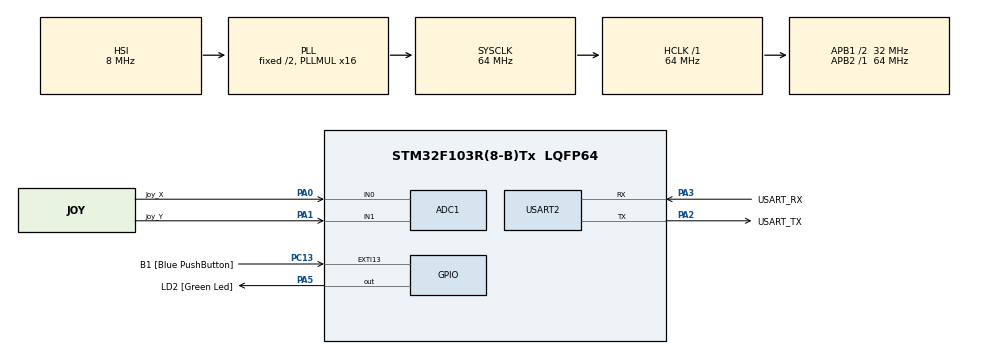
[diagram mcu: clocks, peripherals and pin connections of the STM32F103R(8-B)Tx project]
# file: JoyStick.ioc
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ADC1.Channel-2\#ChannelRegularConversion=ADC_CHANNEL_0
ADC1.Channel-3\#ChannelRegularConversion=ADC_CHANNEL_1
ADC1.ContinuousConvMode=ENABLE
ADC1.NbrOfConversion=2
ADC1.NbrOfConversionFlag=1
ADC1.Rank-2\#ChannelRegularConversion=1
ADC1.Rank-3\#ChannelRegularConversion=2
ADC1.SamplingTime-2\#ChannelRegularConversion=ADC_SAMPLETIME_239CYCLES_5
ADC1.SamplingTime-3\#ChannelRegularConversion=ADC_SAMPLETIME_239CYCLES_5
ADC1.master=1
Dma.ADC1.0.Direction=DMA_PERIPH_TO_MEMORY
Dma.ADC1.0.Instance=DMA1_Channel1
Dma.ADC1.0.MemDataAlignment=DMA_MDATAALIGN_HALFWORD
Dma.ADC1.0.MemInc=DMA_MINC_ENABLE
Dma.ADC1.0.Mode=DMA_CIRCULAR
Dma.ADC1.0.PeriphDataAlignment=DMA_PDATAALIGN_HALFWORD
Dma.ADC1.0.PeriphInc=DMA_PINC_DISABLE
Dma.ADC1.0.Priority=DMA_PRIORITY_MEDIUM
Dma.Request0=ADC1
Mcu.Family=STM32F1
Mcu.Name=STM32F103R(8-B)Tx
Mcu.Package=LQFP64
NVIC.DMA1_Channel1_IRQn=true\:0\:0\:false\:false\:true\:false\:true\:true
NVIC.EXTI15_10_IRQn=true\:0\:0\:false\:false\:true\:true\:true\:true
NVIC.PriorityGroup=NVIC_PRIORITYGROUP_4
NVIC.TIM2_IRQn=true\:0\:0\:false\:false\:true\:true\:true\:true
PA0-WKUP.GPIO_Label=Joy_X
PA0-WKUP.Signal=ADCx_IN0
PA1.GPIO_Label=Joy_Y
PA1.Signal=ADCx_IN1
PA13.GPIO_Label=TMS
PA13.Mode=Serial_Wire
PA13.Signal=SYS_JTMS-SWDIO
PA14.GPIO_Label=TCK
PA14.Mode=Serial_Wire
PA14.Signal=SYS_JTCK-SWCLK
PA2.GPIO_Label=USART_TX
PA2.GPIO_Mode=GPIO_MODE_AF_PP
PA2.GPIO_PuPd=GPIO_NOPULL
PA2.GPIO_Speed=GPIO_SPEED_FREQ_LOW
PA2.Mode=Asynchronous
PA2.Signal=USART2_TX
PA3.GPIO_Label=USART_RX
PA3.GPIO_Mode=GPIO_MODE_AF_PP
PA3.GPIO_PuPd=GPIO_NOPULL
PA3.GPIO_Speed=GPIO_SPEED_FREQ_LOW
PA3.Mode=Asynchronous
PA3.Signal=USART2_RX
PA5.GPIO_Label=LD2 [Green Led]
PA5.GPIO_ModeDefaultOutputPP=GPIO_MODE_OUTPUT_PP
PA5.GPIO_PuPd=GPIO_NOPULL
PA5.GPIO_Speed=GPIO_SPEED_FREQ_LOW
PA5.Signal=GPIO_Output
PB3.GPIO_Label=SWO
PB3.Signal=SYS_JTDO-TRACESWO
PC13-TAMPER-RTC.GPIO_Label=B1 [Blue PushButton]
PC13-TAMPER-RTC.GPIO_PuPd=GPIO_NOPULL
PC13-TAMPER-RTC.Signal=GPXTI13
PC14-OSC32_IN.Signal=RCC_OSC32_IN
PC15-OSC32_OUT.Signal=RCC_OSC32_OUT
PD0-OSC_IN.Signal=RCC_OSC_IN
PD1-OSC_OUT.Signal=RCC_OSC_OUT
ProjectManager.HeapSize=0x200
ProjectManager.StackSize=0x400
ProjectManager.TargetToolchain=STM32CubeIDE
RCC.ADCPresc=RCC_ADCPCLK2_DIV6
RCC.AHBFreq_Value=64000000
RCC.APB1CLKDivider=RCC_HCLK_DIV2
RCC.APB1Freq_Value=32000000
RCC.APB1TimFreq_Value=64000000
RCC.APB2Freq_Value=64000000
RCC.APB2TimFreq_Value=64000000
RCC.HCLKFreq_Value=64000000
RCC.PLLMUL=RCC_PLL_MUL16
RCC.RTCClockSelection=RCC_RTCCLKSOURCE_LSE
RCC.SYSCLKFreq_VALUE=64000000
RCC.SYSCLKSource=RCC_SYSCLKSOURCE_PLLCLK
RCC.USBFreq_Value=64000000
SH.ADCx_IN0.0=ADC1_IN0,IN0
SH.ADCx_IN1.0=ADC2_IN1
SH.ADCx_IN1.1=ADC1_IN1,IN1
TIM2.Period=499
TIM2.Prescaler=6399
USART2.VirtualMode=VM_ASYNC
VP_TIM2_VS_ClockSourceINT.Mode=Internal
board=NUCLEO-F103RB

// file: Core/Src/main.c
/* USER CODE BEGIN Header */
/**
  ******************************************************************************
  * @file           : main.c
  * @brief          : Main program body
  ******************************************************************************
  * @attention
  *
  * Copyright (c) 2025 STMicroelectronics.
  * All rights reserved.
  *
  * This software is licensed under terms that can be found in the LICENSE file
  * in the root directory of this software component.
  * If no LICENSE file comes with this software, it is provided AS-IS.
  *
  ******************************************************************************
  */
/* USER CODE END Header */
#include "main.h"

/* USER CODE BEGIN Includes */
#include <stdio.h>
#include <string.h>
/* USER CODE END Includes */

/* USER CODE BEGIN PD */
#define ADC_BUFFER_SIZE 2
#define FILTER_SIZE 8        // 이동평균 필터 크기
#define ADC_MAX_VALUE 4095   // 12bit ADC 최대값
/* USER CODE END PD */

ADC_HandleTypeDef hadc1;
DMA_HandleTypeDef hdma_adc1;

TIM_HandleTypeDef htim2;

UART_HandleTypeDef huart2;

/* USER CODE BEGIN PV */
uint16_t adc_buffer[ADC_BUFFER_SIZE];  // DMA 버퍼
uint16_t joystick_x_raw = 0;           // 조이스틱 X축 원시값
uint16_t joystick_y_raw = 0;           // 조이스틱 Y축 원시값

// 이동평균 필터를 위한 배열
uint32_t x_filter_buffer[FILTER_SIZE] = {0};
uint32_t y_filter_buffer[FILTER_SIZE] = {0};
uint8_t filter_index = 0;

// 필터링된 값
uint16_t joystick_x_filtered = 0;
uint16_t joystick_y_filtered = 0;

// 백분율로 변환된 값 (-100 ~ +100)
int16_t joystick_x_percent = 0;
int16_t joystick_y_percent = 0;

char uart_buffer[100];  // 필요시 사용할 버퍼 (현재는 printf 사용)
/* USER CODE END PV */

void SystemClock_Config(void);
static void MX_GPIO_Init(void);
static void MX_DMA_Init(void);
static void MX_USART2_UART_Init(void);
static void MX_ADC1_Init(void);
static void MX_TIM2_Init(void);
/* USER CODE BEGIN PFP */
void process_joystick_data(void);
uint16_t apply_moving_average_filter(uint16_t new_value, uint32_t *filter_buffer);
int16_t convert_to_percentage(uint16_t adc_value);
/* USER CODE END PFP */

/* USER CODE BEGIN 0 */
#ifdef __GNUC__
/* With GCC, small printf (option LD Linker->Libraries->Small printf
   set to 'Yes') calls __io_putchar() */
#define PUTCHAR_PROTOTYPE int __io_putchar(int ch)
#else
#define PUTCHAR_PROTOTYPE int fputc(int ch, FILE *f)
#endif /* __GNUC__ */

/**
  * @brief  Retargets the C library printf function to the USART.
  * @param  None
  * @retval None
  */
PUTCHAR_PROTOTYPE
{
  /* Place your implementation of fputc here */
  /* e.g. write a character to the USART1 and Loop until the end of transmission */
  if (ch == '\n')
    HAL_UART_Transmit (&huart2, (uint8_t*) "\r", 1, 0xFFFF);
  HAL_UART_Transmit (&huart2, (uint8_t*) &ch, 1, 0xFFFF);

  return ch;
}

/**
  * @brief  이동평균 필터 적용
  * @param  new_value: 새로운 ADC 값
  * @param  filter_buffer: 필터 버퍼 포인터
  * @retval 필터링된 값
  */
uint16_t apply_moving_average_filter(uint16_t new_value, uint32_t *filter_buffer)
{
    static uint8_t x_init = 0, y_init = 0;
    uint32_t sum = 0;

    // 필터 버퍼 구분 (X축 또는 Y축)
    if (filter_buffer == x_filter_buffer) {
        if (!x_init) {
            // 초기화: 모든 버퍼를 첫 번째 값으로 채움
            for (int i = 0; i < FILTER_SIZE; i++) {
                filter_buffer[i] = new_value;
            }
            x_init = 1;
            return new_value;
        }
    } else {
        if (!y_init) {
            // 초기화: 모든 버퍼를 첫 번째 값으로 채움
            for (int i = 0; i < FILTER_SIZE; i++) {
                filter_buffer[i] = new_value;
            }
            y_init = 1;
            return new_value;
        }
    }

    // 새로운 값을 버퍼에 추가
    filter_buffer[filter_index] = new_value;

    // 평균 계산
    for (int i = 0; i < FILTER_SIZE; i++) {
        sum += filter_buffer[i];
    }

    return (uint16_t)(sum / FILTER_SIZE);
}

/**
  * @brief  ADC 값을 백분율로 변환 (-100 ~ +100)
  * @param  adc_value: ADC 값 (0 ~ 4095)
  * @retval 백분율 값
  */
int16_t convert_to_percentage(uint16_t adc_value)
{
    // ADC 중앙값을 기준으로 -100 ~ +100으로 변환
    int16_t centered_value = (int16_t)adc_value - (ADC_MAX_VALUE / 2);
    int16_t percentage = (centered_value * 100) / (ADC_MAX_VALUE / 2);

    // 범위 제한
    if (percentage > 100) percentage = 100;
    if (percentage < -100) percentage = -100;

    return percentage;
}

/**
  * @brief  조이스틱 데이터 처리
  * @param  None
  * @retval None
  */
void process_joystick_data(void)
{
    // 원시 ADC 값 읽기
    joystick_x_raw = adc_buffer[0];  // ADC Channel 0 (PA0)
    joystick_y_raw = adc_buffer[1];  // ADC Channel 1 (PA1)

    // 이동평균 필터 적용
    joystick_x_filtered = apply_moving_average_filter(joystick_x_raw, x_filter_buffer);
    joystick_y_filtered = apply_moving_average_filter(joystick_y_raw, y_filter_buffer);

    // 필터 인덱스 업데이트 (두 축 공통 사용)
    filter_index = (filter_index + 1) % FILTER_SIZE;

    // 백분율로 변환
    joystick_x_percent = convert_to_percentage(joystick_x_filtered);
    joystick_y_percent = convert_to_percentage(joystick_y_filtered);
}

/**
  * @brief  타이머 콜백 함수 (주기적 ADC 읽기용)
  * @param  htim: 타이머 핸들
  * @retval None
  */
void HAL_TIM_PeriodElapsedCallback(TIM_HandleTypeDef *htim)
{
    if (htim->Instance == TIM2) {
        // 조이스틱 데이터 처리
        process_joystick_data();

        // UART로 데이터 출력 (디버깅용)
        printf("X: %d%% (%d), Y: %d%% (%d)\n",
                joystick_x_percent, joystick_x_filtered,
                joystick_y_percent, joystick_y_filtered);
    }
}
/* USER CODE END 0 */

int main(void)
{

  /* MCU Configuration--------------------------------------------------------*/

  /* Reset of all peripherals, Initializes the Flash interface and the Systick. */
  HAL_Init();

  /* Configure the system clock */
  SystemClock_Config();

  /* Initialize all configured peripherals */
  MX_GPIO_Init();
  MX_DMA_Init();
  MX_USART2_UART_Init();
  MX_ADC1_Init();
  MX_TIM2_Init();
  /* USER CODE BEGIN 2 */
  if (HAL_DMA_Init(&hdma_adc1) != HAL_OK) {
      Error_Handler();
  }

  // ADC1 핸들과 DMA 링크
  __HAL_LINKDMA(&hadc1, DMA_Handle, hdma_adc1);

  // ADC 캘리브레이션
  HAL_ADCEx_Calibration_Start(&hadc1);

  // DMA를 사용한 연속 ADC 변환 시작
  HAL_ADC_Start_DMA(&hadc1, (uint32_t*)adc_buffer, ADC_BUFFER_SIZE);

  // 타이머 시작 (50ms 주기로 데이터 처리)
  HAL_TIM_Base_Start_IT(&htim2);

  // 시작 메시지
  printf("STM32F103 조이스틱 ADC 읽기 시작\n");
  /* USER CODE END 2 */

  /* Infinite loop */
  while (1)
  {

    /* USER CODE BEGIN 3 */
	  HAL_Delay(10);  // 메인 루프 딜레이
  }
  /* USER CODE END 3 */
}

void SystemClock_Config(void)
{
  RCC_OscInitTypeDef RCC_OscInitStruct = {0};
  RCC_ClkInitTypeDef RCC_ClkInitStruct = {0};
  RCC_PeriphCLKInitTypeDef PeriphClkInit = {0};

  /** Initializes the RCC Oscillators according to the specified parameters
  * in the RCC_OscInitTypeDef structure.
  */
  RCC_OscInitStruct.OscillatorType = RCC_OSCILLATORTYPE_HSI;
  RCC_OscInitStruct.HSIState = RCC_HSI_ON;
  RCC_OscInitStruct.HSICalibrationValue = RCC_HSICALIBRATION_DEFAULT;
  RCC_OscInitStruct.PLL.PLLState = RCC_PLL_ON;
  RCC_OscInitStruct.PLL.PLLSource = RCC_PLLSOURCE_HSI_DIV2;
  RCC_OscInitStruct.PLL.PLLMUL = RCC_PLL_MUL16;
  if (HAL_RCC_OscConfig(&RCC_OscInitStruct) != HAL_OK)
  {
    Error_Handler();
  }

  /** Initializes the CPU, AHB and APB buses clocks
  */
  RCC_ClkInitStruct.ClockType = RCC_CLOCKTYPE_HCLK|RCC_CLOCKTYPE_SYSCLK
                              |RCC_CLOCKTYPE_PCLK1|RCC_CLOCKTYPE_PCLK2;
  RCC_ClkInitStruct.SYSCLKSource = RCC_SYSCLKSOURCE_PLLCLK;
  RCC_ClkInitStruct.AHBCLKDivider = RCC_SYSCLK_DIV1;
  RCC_ClkInitStruct.APB1CLKDivider = RCC_HCLK_DIV2;
  RCC_ClkInitStruct.APB2CLKDivider = RCC_HCLK_DIV1;

  if (HAL_RCC_ClockConfig(&RCC_ClkInitStruct, FLASH_LATENCY_2) != HAL_OK)
  {
    Error_Handler();
  }
  PeriphClkInit.PeriphClockSelection = RCC_PERIPHCLK_ADC;
  PeriphClkInit.AdcClockSelection = RCC_ADCPCLK2_DIV6;
  if (HAL_RCCEx_PeriphCLKConfig(&PeriphClkInit) != HAL_OK)
  {
    Error_Handler();
  }
}

static void MX_ADC1_Init(void)
{

  ADC_ChannelConfTypeDef sConfig = {0};

  /** Common config
  */
  hadc1.Instance = ADC1;
  hadc1.Init.ScanConvMode = ADC_SCAN_ENABLE;
  hadc1.Init.ContinuousConvMode = ENABLE;
  hadc1.Init.DiscontinuousConvMode = DISABLE;
  hadc1.Init.ExternalTrigConv = ADC_SOFTWARE_START;
  hadc1.Init.DataAlign = ADC_DATAALIGN_RIGHT;
  hadc1.Init.NbrOfConversion = 2;
  if (HAL_ADC_Init(&hadc1) != HAL_OK)
  {
    Error_Handler();
  }

  /** Configure Regular Channel
  */
  sConfig.Channel = ADC_CHANNEL_0;
  sConfig.Rank = ADC_REGULAR_RANK_1;
  sConfig.SamplingTime = ADC_SAMPLETIME_239CYCLES_5;
  if (HAL_ADC_ConfigChannel(&hadc1, &sConfig) != HAL_OK)
  {
    Error_Handler();
  }

  /** Configure Regular Channel
  */
  sConfig.Channel = ADC_CHANNEL_1;
  sConfig.Rank = ADC_REGULAR_RANK_2;
  if (HAL_ADC_ConfigChannel(&hadc1, &sConfig) != HAL_OK)
  {
    Error_Handler();
  }

}

static void MX_TIM2_Init(void)
{

  TIM_ClockConfigTypeDef sClockSourceConfig = {0};
  TIM_MasterConfigTypeDef sMasterConfig = {0};

  htim2.Instance = TIM2;
  htim2.Init.Prescaler = 6399;
  htim2.Init.CounterMode = TIM_COUNTERMODE_UP;
  htim2.Init.Period = 499;
  htim2.Init.ClockDivision = TIM_CLOCKDIVISION_DIV1;
  htim2.Init.AutoReloadPreload = TIM_AUTORELOAD_PRELOAD_DISABLE;
  if (HAL_TIM_Base_Init(&htim2) != HAL_OK)
  {
    Error_Handler();
  }
  sClockSourceConfig.ClockSource = TIM_CLOCKSOURCE_INTERNAL;
  if (HAL_TIM_ConfigClockSource(&htim2, &sClockSourceConfig) != HAL_OK)
  {
    Error_Handler();
  }
  sMasterConfig.MasterOutputTrigger = TIM_TRGO_RESET;
  sMasterConfig.MasterSlaveMode = TIM_MASTERSLAVEMODE_DISABLE;
  if (HAL_TIMEx_MasterConfigSynchronization(&htim2, &sMasterConfig) != HAL_OK)
  {
    Error_Handler();
  }

}

static void MX_USART2_UART_Init(void)
{

  huart2.Instance = USART2;
  huart2.Init.BaudRate = 115200;
  huart2.Init.WordLength = UART_WORDLENGTH_8B;
  huart2.Init.StopBits = UART_STOPBITS_1;
  huart2.Init.Parity = UART_PARITY_NONE;
  huart2.Init.Mode = UART_MODE_TX_RX;
  huart2.Init.HwFlowCtl = UART_HWCONTROL_NONE;
  huart2.Init.OverSampling = UART_OVERSAMPLING_16;
  if (HAL_UART_Init(&huart2) != HAL_OK)
  {
    Error_Handler();
  }

}

static void MX_DMA_Init(void)
{

  /* DMA controller clock enable */
  __HAL_RCC_DMA1_CLK_ENABLE();

  /* DMA interrupt init */
  /* DMA1_Channel1_IRQn interrupt configuration */
  HAL_NVIC_SetPriority(DMA1_Channel1_IRQn, 0, 0);
  HAL_NVIC_EnableIRQ(DMA1_Channel1_IRQn);

}

static void MX_GPIO_Init(void)
{
  GPIO_InitTypeDef GPIO_InitStruct = {0};

  /* GPIO Ports Clock Enable */
  __HAL_RCC_GPIOC_CLK_ENABLE();
  __HAL_RCC_GPIOD_CLK_ENABLE();
  __HAL_RCC_GPIOA_CLK_ENABLE();
  __HAL_RCC_GPIOB_CLK_ENABLE();

  /*Configure GPIO pin Output Level */
  HAL_GPIO_WritePin(LD2_GPIO_Port, LD2_Pin, GPIO_PIN_RESET);

  /*Configure GPIO pin : B1_Pin */
  GPIO_InitStruct.Pin = B1_Pin;
  GPIO_InitStruct.Mode = GPIO_MODE_IT_RISING;
  GPIO_InitStruct.Pull = GPIO_NOPULL;
  HAL_GPIO_Init(B1_GPIO_Port, &GPIO_InitStruct);

  /*Configure GPIO pin : Joy_Y_Pin */
  GPIO_InitStruct.Pin = Joy_Y_Pin;
  GPIO_InitStruct.Mode = GPIO_MODE_ANALOG;
  HAL_GPIO_Init(Joy_Y_GPIO_Port, &GPIO_InitStruct);

  /*Configure GPIO pin : LD2_Pin */
  GPIO_InitStruct.Pin = LD2_Pin;
  GPIO_InitStruct.Mode = GPIO_MODE_OUTPUT_PP;
  GPIO_InitStruct.Pull = GPIO_NOPULL;
  GPIO_InitStruct.Speed = GPIO_SPEED_FREQ_LOW;
  HAL_GPIO_Init(LD2_GPIO_Port, &GPIO_InitStruct);

  /* EXTI interrupt init*/
  HAL_NVIC_SetPriority(EXTI15_10_IRQn, 0, 0);
  HAL_NVIC_EnableIRQ(EXTI15_10_IRQn);

}

void Error_Handler(void)
{
  __disable_irq();
  while (1)
  {
  }
}
